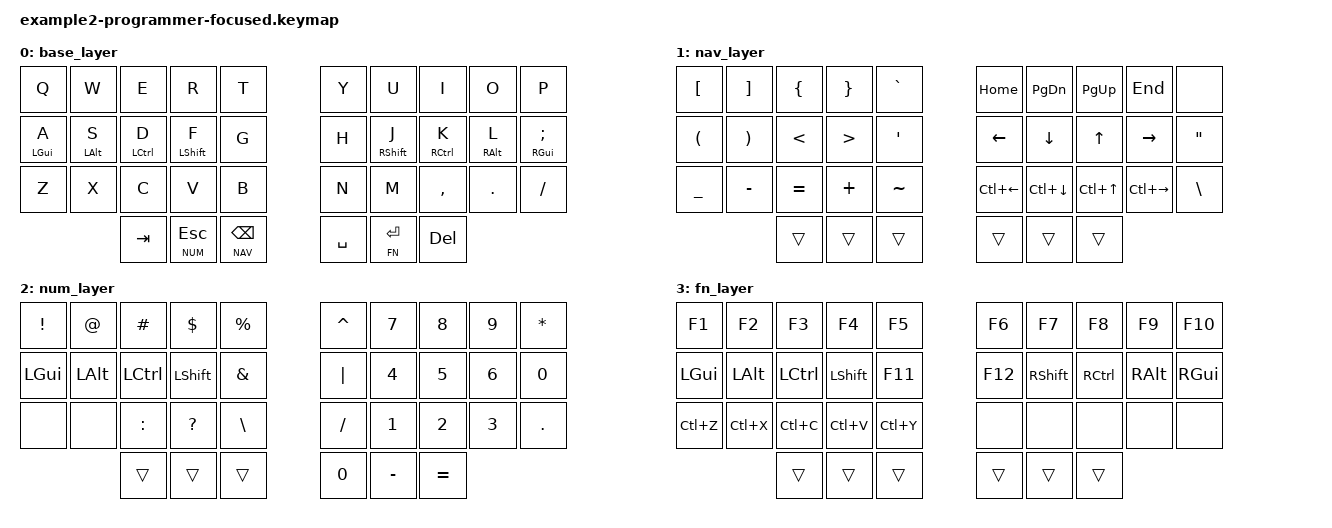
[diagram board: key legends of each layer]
// Example 2: Programmer's Delight
// Philosophy: Optimize for coding - symbols on base, numbers easily accessible
// Focus: Minimal layer switching for programming tasks
// Thumb Strategy: Heavy use of momentary layers + modifier combos

#include <behaviors.dtsi>
#include <dt-bindings/zmk/keys.h>

#define BASE 0
#define NAV  1
#define NUM  2
#define FN   3

/ {
    keymap {
        compatible = "zmk,keymap";

        base_layer {
            bindings = <
    // ╭─────────────┬─────────────┬─────────────┬─────────────┬─────────────╮   ╭─────────────┬─────────────┬─────────────┬─────────────┬─────────────╮
         &kp Q         &kp W         &kp E         &kp R         &kp T             &kp Y         &kp U         &kp I         &kp O         &kp P
    // ├─────────────┼─────────────┼─────────────┼─────────────┼─────────────┤   ├─────────────┼─────────────┼─────────────┼─────────────┼─────────────┤
         &mt LGUI A    &mt LALT S    &mt LCTRL D   &mt LSHFT F   &kp G             &kp H         &mt RSHFT J   &mt RCTRL K   &mt RALT L    &mt RGUI SEMI
    // ├─────────────┼─────────────┼─────────────┼─────────────┼─────────────┤   ├─────────────┼─────────────┼─────────────┼─────────────┼─────────────┤
         &kp Z         &kp X         &kp C         &kp V         &kp B             &kp N         &kp M         &kp COMMA     &kp DOT       &kp FSLH
    // ╰─────────────┴─────────────┴─────────────┼─────────────┼─────────────┤   ├─────────────┼─────────────┼─────────────┴─────────────┴─────────────╯
                                     &kp TAB       &lt NUM ESC   &lt NAV BSPC      &kp SPACE     &lt FN RET    &kp DEL
    //                               ╰─────────────┴─────────────┴─────────────╯   ╰─────────────┴─────────────┴─────────────╯
            >;
        };

        nav_layer {
            bindings = <
         &kp LBKT      &kp RBKT      &kp LBRC      &kp RBRC      &kp GRAVE         &kp HOME      &kp PG_DN     &kp PG_UP     &kp END       &none
         &kp LPAR      &kp RPAR      &kp LT        &kp GT        &kp SQT           &kp LEFT      &kp DOWN      &kp UP        &kp RIGHT     &kp DQT
         &kp UNDER     &kp MINUS     &kp EQUAL     &kp PLUS      &kp TILDE         &kp LC(LEFT)  &kp LC(DOWN)  &kp LC(UP)    &kp LC(RIGHT) &kp BSLH
                                     &trans        &trans        &trans            &trans        &trans        &trans
            >;
        };

        num_layer {
            bindings = <
         &kp EXCL      &kp AT        &kp HASH      &kp DLLR      &kp PRCNT         &kp CARET     &kp N7        &kp N8        &kp N9        &kp STAR
         &kp LGUI      &kp LALT      &kp LCTRL     &kp LSHFT     &kp AMPS          &kp PIPE      &kp N4        &kp N5        &kp N6        &kp N0
         &none         &none         &kp COLON     &kp QMARK     &kp BSLH          &kp FSLH      &kp N1        &kp N2        &kp N3        &kp DOT
                                     &trans        &trans        &trans            &kp N0        &kp MINUS     &kp EQUAL
            >;
        };

        fn_layer {
            bindings = <
         &kp F1        &kp F2        &kp F3        &kp F4        &kp F5            &kp F6        &kp F7        &kp F8        &kp F9        &kp F10
         &kp LGUI      &kp LALT      &kp LCTRL     &kp LSHFT     &kp F11           &kp F12       &kp RSHFT     &kp RCTRL     &kp RALT      &kp RGUI
         &kp LC(Z)     &kp LC(X)     &kp LC(C)     &kp LC(V)     &kp LC(Y)         &none         &none         &none         &none         &none
                                     &trans        &trans        &trans            &trans        &trans        &trans
            >;
        };
    };
};
